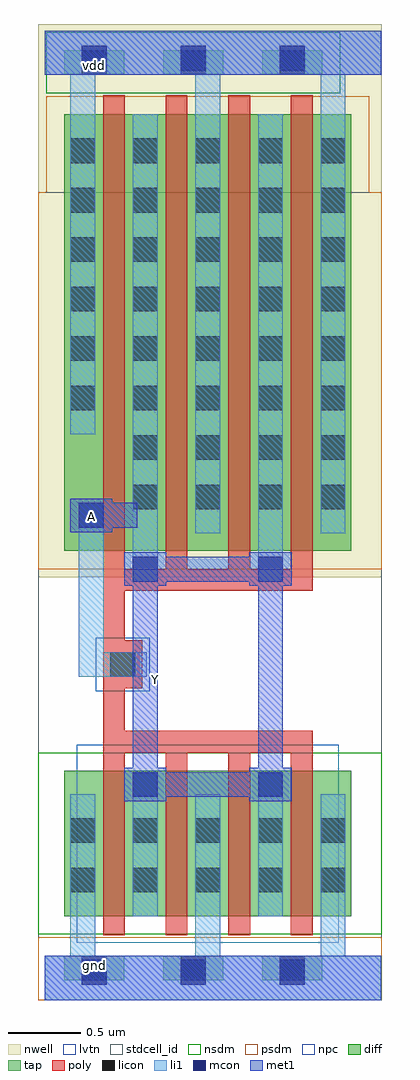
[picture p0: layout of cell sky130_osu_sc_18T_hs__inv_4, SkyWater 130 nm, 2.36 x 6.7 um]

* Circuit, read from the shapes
.subckt sky130_osu_sc_18T_hs__inv_4 A Y gnd vdd
XM1 Y A gnd gnd sky130_fd_pr__nfet_01v8_lvt w=1 l=0.15 m=4
XM2 Y A vdd vdd sky130_fd_pr__pfet_01v8 w=3 l=0.15 m=4
.ends

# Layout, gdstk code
import gdstk
lib = gdstk.Library(unit=1e-6, precision=1e-09)
def R(c, l, rs):  # rectangles x0, y0, x1, y1
    for r in rs: c.add(gdstk.rectangle(r[:2], r[2:], *l))
def A(c, l, x, y, w, h, nx, ny, dx, dy):  # array of equal rectangles
    R(c, l, [(x+i*dx, y+j*dy, x+i*dx+w, y+j*dy+h) for i in range(nx) for j in range(ny)])
nwell = (64, 20)
diff = (65, 20)
tap = (65, 44)
poly = (66, 20)
licon = (66, 44)
li1 = (67, 20)
mcon = (67, 44)
met1 = (68, 20)
stdcell_id = (81, 4)
nsdm = (93, 44)
psdm = (94, 20)
npc = (95, 20)
lvtn = (125, 44)

sky130_osu_sc_18t_hs__in = lib.new_cell('sky130_osu_sc_18T_hs__inv_4')
R(sky130_osu_sc_18t_hs__in, nwell, [(-0.045,2.905,2.315,6.705)])
R(sky130_osu_sc_18t_hs__in, diff, [(0.135,0.575,2.105,1.575), (0.135,3.085,2.105,6.085)])
A(sky130_osu_sc_18t_hs__in, tap, 0.135, 0.135, 0.41, 0.17, 3, 2, 0.68, 6.22)
A(sky130_osu_sc_18t_hs__in, poly, 0.4, 0.445, 0.15, 1.255, 4, 1, 0.43, 0)
A(sky130_osu_sc_18t_hs__in, poly, 0.4, 2.96, 0.15, 3.255, 4, 1, 0.43, 0)
R(sky130_osu_sc_18t_hs__in, poly, [(0.4,1.7,1.84,1.85), (0.4,1.85,0.55,2.14), (0.4,2.14,0.67,2.47), (0.4,2.47,0.55,2.81), (0.4,2.81,1.84,2.96)])
A(sky130_osu_sc_18t_hs__in, licon, 0.255, 0.135, 0.17, 0.17, 3, 2, 0.68, 6.22)
A(sky130_osu_sc_18t_hs__in, licon, 0.175, 0.74, 0.17, 0.17, 5, 2, 0.43, 0.34)
A(sky130_osu_sc_18t_hs__in, licon, 0.605, 3.37, 0.17, 0.17, 4, 2, 0.43, 0.34)
A(sky130_osu_sc_18t_hs__in, licon, 0.175, 4.05, 0.17, 0.17, 5, 6, 0.43, 0.34)
R(sky130_osu_sc_18t_hs__in, licon, [(0.45,2.22,0.62,2.39)])
A(sky130_osu_sc_18t_hs__in, li1, 0.175, 0.305, 0.17, 1.11, 3, 1, 0.86, 0)
R(sky130_osu_sc_18t_hs__in, li1, [(0,0,2.31,0.305), (0.605,0.575,0.775,1.565), (1.465,0.575,1.635,1.565), (0.235,2.22,0.7,2.39), (0.235,2.39,0.405,3.415), (0.605,2.875,0.775,6.085), (1.465,2.875,1.635,6.085), (1.035,3.205,1.205,6.355), (1.895,3.205,2.065,6.355), (0.175,3.885,0.345,6.355), (0,6.355,2.31,6.66)])
A(sky130_osu_sc_18t_hs__in, mcon, 0.255, 0.105, 0.17, 0.17, 3, 2, 0.68, 6.28)
R(sky130_osu_sc_18t_hs__in, mcon, [(0.605,1.395,0.775,1.565), (1.465,1.395,1.635,1.565), (0.605,2.875,0.775,3.045), (1.465,2.875,1.635,3.045), (0.235,3.245,0.405,3.415)])
R(sky130_osu_sc_18t_hs__in, met1, [(0,0,2.31,0.305), (0.545,1.365,0.835,1.395), (1.405,1.365,1.695,1.395), (0.545,1.395,1.695,1.565), (0.545,1.565,0.835,1.595), (1.405,1.565,1.695,1.595), (0.605,1.595,0.775,2.845), (1.465,1.595,1.635,2.845), (0.545,2.845,0.835,2.875), (1.405,2.845,1.695,2.875), (0.545,2.875,1.695,3.045), (0.545,3.045,0.835,3.075), (1.405,3.045,1.695,3.075), (0.175,3.215,0.465,3.245), (0.175,3.245,0.635,3.415), (0.175,3.415,0.465,3.445), (0,6.355,2.31,6.66)])
R(sky130_osu_sc_18t_hs__in, stdcell_id, [(-0.045,0,2.315,5.55)])
R(sky130_osu_sc_18t_hs__in, nsdm, [(-0.045,0.45,2.315,1.7), (0.01,6.23,2.03,6.65)])
R(sky130_osu_sc_18t_hs__in, psdm, [(-0.045,0,2.315,0.43), (-0.045,2.96,2.315,5.55), (0.01,5.55,2.23,6.21)])
R(sky130_osu_sc_18t_hs__in, npc, [(0.35,2.12,0.72,2.49)])
R(sky130_osu_sc_18t_hs__in, lvtn, [(0.22,0.395,2.02,1.755)])
sky130_osu_sc_18t_hs__in.add(gdstk.Label('gnd', (0.34,0.24), layer=68, texttype=16))
sky130_osu_sc_18t_hs__in.add(gdstk.Label('vdd', (0.34,6.42), layer=68, texttype=16))
sky130_osu_sc_18t_hs__in.add(gdstk.Label('A', (0.32,3.325), layer=68, texttype=5))
sky130_osu_sc_18t_hs__in.add(gdstk.Label('Y', (0.76,2.2), layer=68, texttype=5))

lib.write_gds('sky130_osu_sc_18T_hs__inv_4.gds')
